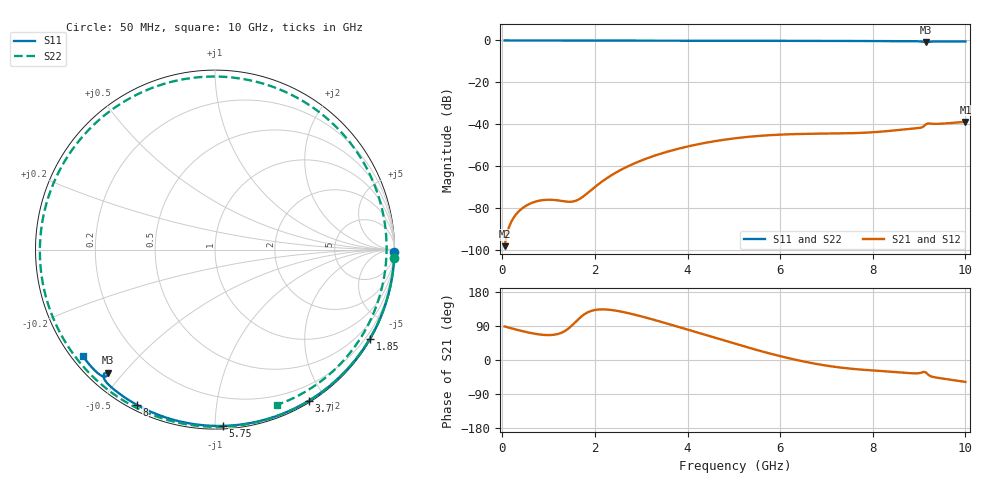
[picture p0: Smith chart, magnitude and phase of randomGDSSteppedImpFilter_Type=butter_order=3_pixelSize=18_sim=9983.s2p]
! freq	dB(S11)	phase(S11)	dB(S12)	phase(S12)
!  dB(S21)	phase(S21)	dB(S22)	phase(S22)
!S-par simulation data
#  GHz  S  DB  R 50
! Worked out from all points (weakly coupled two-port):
!   200 points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, 50 MHz to 10 GHz, reference 50 ohm
!   highest |S21| = -38.83 dB at 10 GHz (marker M1); lowest = -98.1 dB at 50 MHz (marker M2)
!   lowest |S11| = -0.8 dB at 9.15 GHz (marker M3), VSWR 21.24, Z = 2.84 - j22.6 ohm
!   |S11| at or under -10 dB: nowhere
!   |S22| runs from -0.6 to 0.0 dB; largest |S21 - S12| = 0
!   S11 on the Smith chart (normalised r, x): 50 MHz: open; 1.85 GHz: 0.03, -3.75; 3.7 GHz: 0.02, -1.79; 5.75 GHz: 0.02, -1.05; 8 GHz: 0.02, -0.62; 10 GHz: 0.03, -0.35
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0.05  -0.00 -0.8  -98.15 88.5  -98.15 88.5  -0.00 -2.6
0.4  -0.01 -6.5  -80.64 77.2  -80.64 77.2  -0.03 -20.2
0.7  -0.01 -11.4  -77.01 69.3  -77.01 69.3  -0.05 -35.1
1  -0.02 -16.3  -75.99 65.7  -75.99 65.7  -0.06 -49.8
1.5  -0.03 -24.3  -76.92 90.7  -76.92 90.7  -0.09 -73.7
1.75  -0.04 -28.3  -74.39 118.7  -74.39 118.7  -0.10 -85.4
1.85  -0.04 -29.9  -72.65 126.1  -72.65 126.1  -0.11 -90.0
2.55  -0.05 -40.8  -61.87 128.1  -61.87 128.1  -0.14 -121.3
3  -0.06 -47.7  -57.29 115.2  -57.29 115.2  -0.17 -140.9
3.4  -0.07 -53.8  -54.17 101.7  -54.17 101.7  -0.19 -158.2
3.7  -0.08 -58.2  -52.25 91.1  -52.25 91.1  -0.20 -171.1
4.35  -0.09 -67.7  -48.99 67.5  -48.99 67.5  -0.24 160.7
5.05  -0.12 -77.7  -46.61 42.0  -46.61 42.0  -0.28 129.6
5.75  -0.15 -87.3  -45.22 18.0  -45.22 18.0  -0.31 97.6
6.2  -0.17 -93.4  -44.75 4.3  -44.75 4.3  -0.33 76.9
6.7  -0.19 -100.0  -44.51 -8.6  -44.51 -8.6  -0.34 54.1
7.35  -0.23 -108.4  -44.34 -20.6  -44.34 -20.6  -0.36 25.5
8  -0.28 -116.7  -43.80 -27.6  -43.80 -27.6  -0.39 -1.2
8.35  -0.31 -121.2  -43.17 -30.5  -43.17 -30.5  -0.41 -14.6
9.05  -0.51 -131.2  -41.55 -33.3  -41.55 -33.3  -0.48 -39.1
9.15  -0.82 -131.1  -39.95 -33.1  -39.95 -33.1  -0.49 -42.4
10  -0.49 -141.2  -38.83 -57.8  -38.83 -57.8  -0.61 -68.2
